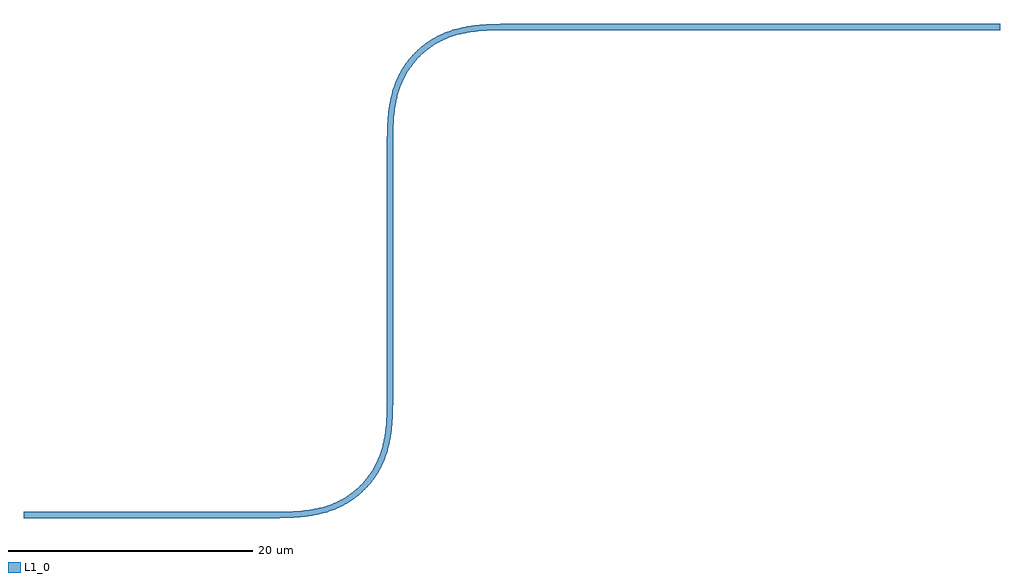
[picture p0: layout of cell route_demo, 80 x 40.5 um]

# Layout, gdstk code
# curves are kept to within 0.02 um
from math import pi, radians
import gdstk
lib = gdstk.Library(unit=1e-6, precision=1e-09)
def R(c, l, rs):  # rectangles x0, y0, x1, y1
    for r in rs: c.add(gdstk.rectangle(r[:2], r[2:], *l))
def P(c, l, *ps):  # polygons
    for p in ps: c.add(gdstk.Polygon(p, *l))
L1_0 = (1, 0)

straight_gdsfactorypcomp = lib.new_cell('straight_gdsfactorypcomponentspwaveguidespstraight_L20__31a8c163')
R(straight_gdsfactorypcomp, L1_0, [(0,-0.25,20,0.25)])

bend_euler_gdsfactorypco = lib.new_cell('bend_euler_gdsfactorypcomponentspbendspbend_euler_R10_A_335c8724')
P(bend_euler_gdsfactorypco, L1_0, [(0,-0.25),(0,0.25),(1.655,0.269),(2.881,0.353),(3.952,0.52),(4.99,0.806),(5.731,1.113),(6.431,1.505),(7.079,1.976),(7.575,2.425),(8.024,2.921),(8.495,3.569),(8.887,4.269),(9.194,5.01),(9.48,6.048),(9.647,7.119),(9.731,8.345),(9.75,10),(10.25,10),(10.235,8.468),(10.158,7.205),(10.023,6.224),(9.797,5.254),(9.457,4.312),(9.066,3.545),(8.5,2.715),(7.928,2.072),(7.285,1.5),(6.455,0.934),(5.688,0.543),(4.746,0.203),(3.776,-0.023),(2.795,-0.158),(1.532,-0.235)])

route_demo = lib.new_cell('route_demo')
route_demo.add(gdstk.Reference(straight_gdsfactorypcomp, (0,0)))
route_demo.add(gdstk.Reference(straight_gdsfactorypcomp, (60,40)))
route_demo.add(gdstk.Reference(bend_euler_gdsfactorypco, (30,10), rotation=3*pi/2, x_reflection=True))
route_demo.add(gdstk.Reference(bend_euler_gdsfactorypco, (40,40), rotation=pi))
route_demo.add(gdstk.Reference(straight_gdsfactorypcomp, (30,10), rotation=pi/2))
route_demo.add(gdstk.Reference(straight_gdsfactorypcomp, (40,40)))

lib.write_gds('route_demo.gds')
